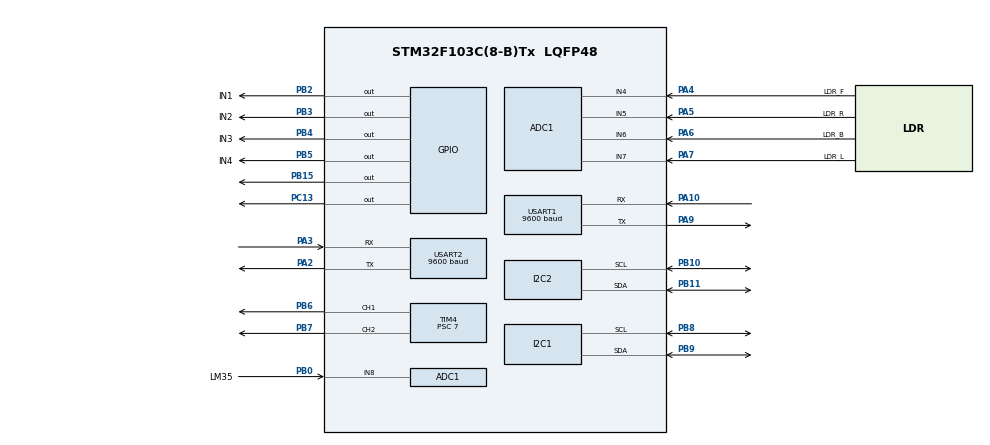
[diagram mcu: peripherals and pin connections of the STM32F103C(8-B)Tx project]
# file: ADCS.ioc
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ADC1.NbrOfConversionFlag=1
ADC1.master=1
Mcu.Family=STM32F1
Mcu.Name=STM32F103C(8-B)Tx
Mcu.Package=LQFP48
NVIC.I2C1_ER_IRQn=true\:0\:0\:false\:false\:true\:true\:true\:true
NVIC.I2C1_EV_IRQn=true\:0\:0\:false\:false\:true\:true\:true\:true
NVIC.PriorityGroup=NVIC_PRIORITYGROUP_4
NVIC.TIM1_UP_IRQn=true\:15\:0\:false\:false\:true\:false\:true\:true
NVIC.TimeBase=TIM1_UP_IRQn
NVIC.TimeBaseIP=TIM1
NVIC.USART2_IRQn=true\:0\:0\:false\:false\:true\:true\:true\:true
PA10.Mode=Asynchronous
PA10.Signal=USART1_RX
PA13.Mode=Serial_Wire
PA13.Signal=SYS_JTMS-SWDIO
PA14.Mode=Serial_Wire
PA14.Signal=SYS_JTCK-SWCLK
PA2.Mode=Asynchronous
PA2.Signal=USART2_TX
PA3.Mode=Asynchronous
PA3.Signal=USART2_RX
PA4.GPIO_Label=LDR_F
PA4.Signal=ADCx_IN4
PA5.GPIO_Label=LDR_R
PA5.Signal=ADCx_IN5
PA6.GPIO_Label=LDR_B
PA6.Signal=ADCx_IN6
PA7.GPIO_Label=LDR_L
PA7.Signal=ADCx_IN7
PA9.Mode=Asynchronous
PA9.Signal=USART1_TX
PB0.GPIO_Label=LM35
PB0.Signal=ADCx_IN8
PB10.Mode=I2C
PB10.Signal=I2C2_SCL
PB11.Mode=I2C
PB11.Signal=I2C2_SDA
PB15.Signal=GPIO_Output
PB2.GPIO_Label=IN1
PB2.Signal=GPIO_Output
PB3.GPIO_Label=IN2
PB3.Signal=GPIO_Output
PB4.GPIO_Label=IN3
PB4.Signal=GPIO_Output
PB5.GPIO_Label=IN4
PB5.Signal=GPIO_Output
PB6.Signal=S_TIM4_CH1
PB7.Signal=S_TIM4_CH2
PB8.Mode=I2C
PB8.Signal=I2C1_SCL
PB9.Mode=I2C
PB9.Signal=I2C1_SDA
PC13-TAMPER-RTC.Signal=GPIO_Output
ProjectManager.HeapSize=0x200
ProjectManager.StackSize=0x400
ProjectManager.TargetToolchain=STM32CubeIDE
RCC.APB1Freq_Value=8000000
RCC.APB2Freq_Value=8000000
SH.ADCx_IN4.0=ADC1_IN4,IN4
SH.ADCx_IN5.0=ADC1_IN5,IN5
SH.ADCx_IN6.0=ADC1_IN6,IN6
SH.ADCx_IN7.0=ADC1_IN7,IN7
SH.ADCx_IN8.0=ADC1_IN8,IN8
SH.S_TIM4_CH1.0=TIM4_CH1,PWM Generation1 CH1
SH.S_TIM4_CH2.0=TIM4_CH2,PWM Generation2 CH2
TIM4.AutoReloadPreload=TIM_AUTORELOAD_PRELOAD_ENABLE
TIM4.Channel-PWM\ Generation1\ CH1=TIM_CHANNEL_1
TIM4.Channel-PWM\ Generation2\ CH2=TIM_CHANNEL_2
TIM4.Period=999
TIM4.Prescaler=7
USART1.BaudRate=9600
USART1.VirtualMode=VM_ASYNC
USART2.BaudRate=9600
USART2.VirtualMode=VM_ASYNC
VP_SYS_VS_tim1.Mode=TIM1
board=custom

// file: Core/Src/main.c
/* USER CODE BEGIN Header */
/**
 ******************************************************************************
 * @file           : main.c
 * @brief          : Main program body
 ******************************************************************************
 * @attention
 *
 * Copyright (c) 2025 STMicroelectronics.
 * All rights reserved.
 *
 * This software is licensed under terms that can be found in the LICENSE file
 * in the root directory of this software component.
 * If no LICENSE file comes with this software, it is provided AS-IS.
 *
 ******************************************************************************
 */
/* USER CODE END Header */

#include "main.h"

/* USER CODE BEGIN Includes */
#include "mpu6050.h"
#include "gps.h"
#include "l298n.h"
#include "ldr.h"
#include "lm35.h"
#include <string.h>
#include <stdio.h>
#include <math.h>
/* USER CODE END Includes */

/* USER CODE BEGIN PTD */
typedef struct {
    float temperature;
    LightSensor_Values ldr_values;
    GPS_Position gps_position;
    GPS_Time gps_time;
    MPU6050_ScaledData accel;
    MPU6050_ScaledData gyro;
    float mpu_temp;
} SensorData_t;
/* USER CODE END PTD */

/* USER CODE BEGIN PD */
#define SENSOR_UPDATE_DELAY_MS 1000  // Delay between sensor updates
/* USER CODE END PD */

ADC_HandleTypeDef hadc1;
I2C_HandleTypeDef hi2c1;
I2C_HandleTypeDef hi2c2;
TIM_HandleTypeDef htim4;
UART_HandleTypeDef huart1;
UART_HandleTypeDef huart2;

/* USER CODE BEGIN PV */
L298N_HandleTypeDef hmotor;
GPS_Handle hgps;
MPU6050_Handle hmpu;
SensorData_t sensor_data;
MPU6050_ScaledData prev_accel = {0};
MPU6050_ScaledData prev_gyro = {0};

typedef enum {
    DIRECTION_NONE,
    DIRECTION_POSITIVE_X,
    DIRECTION_NEGATIVE_X,
    DIRECTION_POSITIVE_Y,
    DIRECTION_NEGATIVE_Y,
    DIRECTION_POSITIVE_Z,
    DIRECTION_NEGATIVE_Z
} MovementDirection;

MovementDirection last_movement_direction = DIRECTION_NONE;
/* USER CODE END PV */

void SystemClock_Config(void);
static void MX_GPIO_Init(void);
static void MX_ADC1_Init(void);
static void MX_USART1_UART_Init(void);
static void MX_TIM4_Init(void);
static void MX_I2C1_Init(void);
static void MX_I2C2_Init(void);
static void MX_USART2_UART_Init(void);

/* USER CODE BEGIN PFP */
void UART_Print(const char *message);
void UART_PrintFloat(const char *label, float value);
void UART_PrintLDRs(LightSensor_Values *values);
void UART_PrintGPSData(GPS_Position *position, GPS_Time *time);
void UART_PrintMPUData(MPU6050_ScaledData *accel, MPU6050_ScaledData *gyro, float temp);
void ReadAllSensors(SensorData_t *data);

void SetMPUOrigin(MPU6050_Handle *hmpu);
bool HasMovedFromOrigin(MPU6050_Handle *hmpu);
MovementDirection DetectMovementDirection(MPU6050_Handle *hmpu);
void ActivateMotorReaction(L298N_HandleTypeDef *hmotor, MovementDirection dir);
void TestMotorA(void);
void SimpleMotorControl(MPU6050_Handle *hmpu, L298N_HandleTypeDef *hmotor);
/* USER CODE END PFP */

/* USER CODE BEGIN 0 */
void HAL_UART_RxCpltCallback(UART_HandleTypeDef *huart) {
    if (huart->Instance == USART2) {
        GPS_UART_RxCpltCallback(&hgps);
    }
}
/* USER CODE END 0 */

int main(void)
{
    /* MCU Configuration--------------------------------------------------------*/
    HAL_Init();
    SystemClock_Config();
    MX_GPIO_Init();
    MX_ADC1_Init();
    MX_USART1_UART_Init();
    MX_TIM4_Init();
    MX_I2C1_Init();
    MX_I2C2_Init();
    MX_USART2_UART_Init();

    /* USER CODE BEGIN 2 */
    // Initialize all sensors and modules
    LM35_Init(&hadc1);
    LightSensor_Init(&hadc1);

    // Initialize motor driver
    L298N_InitTypeDef motor_init = {
        .htim = &htim4,
        .channel_a = TIM_CHANNEL_1,
        .channel_b = TIM_CHANNEL_2,
        .mode = L298N_SINGLE_CHANNEL
    };
    L298N_Init(&hmotor, &motor_init);

    // Initialize GPS module with UART2
    if (GPS_Init(&hgps, &huart2) != GPS_OK) {
        UART_Print("GPS initialization failed!");
        Error_Handler();
    }

    // Initialize MPU6050
    if (MPU6050_Init(&hmpu, &hi2c1) != MPU6050_OK) {
        UART_Print("MPU6050 initialization failed!");
        Error_Handler();
    }

    // Calibrate MPU6050 gyroscope
    if (MPU6050_Calibrate(&hmpu, 100) != MPU6050_OK) {
        UART_Print("MPU6050 calibration failed!");
        Error_Handler();
    }

    SetMPUOrigin(&hmpu);

    UART_Print("System initialized. Starting sensor readings...");
    HAL_Delay(1000);
    TestMotorA();
    /* USER CODE END 2 */

    /* Infinite loop */
    /* USER CODE BEGIN WHILE */
    while (1) {

        ReadAllSensors(&sensor_data);

        // Display sensor data via UART
        UART_Print("\r\n----- Sensor Readings -----");

        // Print temperature
        UART_PrintFloat("LM35 Temperature", sensor_data.temperature);

        // Print LDR values
        UART_PrintLDRs(&sensor_data.ldr_values);

        // Print GPS data if available
        if (GPS_HasFix(&hgps)) {
            UART_PrintGPSData(&sensor_data.gps_position, &sensor_data.gps_time);
        } else {
            UART_Print("GPS: No fix available");
        }

        // Print MPU6050 data
        UART_PrintMPUData(&sensor_data.accel, &sensor_data.gyro, sensor_data.mpu_temp);

        // Simplified motor control based on MPU movement
        SimpleMotorControl(&hmpu, &hmotor);

        HAL_Delay(SENSOR_UPDATE_DELAY_MS);
    }
    /* USER CODE END 3 */
}

void SystemClock_Config(void)
{
  RCC_OscInitTypeDef RCC_OscInitStruct = {0};
  RCC_ClkInitTypeDef RCC_ClkInitStruct = {0};
  RCC_PeriphCLKInitTypeDef PeriphClkInit = {0};

  /** Initializes the RCC Oscillators according to the specified parameters
  * in the RCC_OscInitTypeDef structure.
  */
  RCC_OscInitStruct.OscillatorType = RCC_OSCILLATORTYPE_HSI;
  RCC_OscInitStruct.HSIState = RCC_HSI_ON;
  RCC_OscInitStruct.HSICalibrationValue = RCC_HSICALIBRATION_DEFAULT;
  RCC_OscInitStruct.PLL.PLLState = RCC_PLL_NONE;
  if (HAL_RCC_OscConfig(&RCC_OscInitStruct) != HAL_OK)
  {
    Error_Handler();
  }

  /** Initializes the CPU, AHB and APB buses clocks
  */
  RCC_ClkInitStruct.ClockType = RCC_CLOCKTYPE_HCLK|RCC_CLOCKTYPE_SYSCLK
                              |RCC_CLOCKTYPE_PCLK1|RCC_CLOCKTYPE_PCLK2;
  RCC_ClkInitStruct.SYSCLKSource = RCC_SYSCLKSOURCE_HSI;
  RCC_ClkInitStruct.AHBCLKDivider = RCC_SYSCLK_DIV1;
  RCC_ClkInitStruct.APB1CLKDivider = RCC_HCLK_DIV1;
  RCC_ClkInitStruct.APB2CLKDivider = RCC_HCLK_DIV1;

  if (HAL_RCC_ClockConfig(&RCC_ClkInitStruct, FLASH_LATENCY_0) != HAL_OK)
  {
    Error_Handler();
  }
  PeriphClkInit.PeriphClockSelection = RCC_PERIPHCLK_ADC;
  PeriphClkInit.AdcClockSelection = RCC_ADCPCLK2_DIV2;
  if (HAL_RCCEx_PeriphCLKConfig(&PeriphClkInit) != HAL_OK)
  {
    Error_Handler();
  }
}

static void MX_ADC1_Init(void)
{

  /** Common config
  */
  hadc1.Instance = ADC1;
  hadc1.Init.ScanConvMode = ADC_SCAN_DISABLE;
  hadc1.Init.ContinuousConvMode = DISABLE;
  hadc1.Init.DiscontinuousConvMode = DISABLE;
  hadc1.Init.ExternalTrigConv = ADC_SOFTWARE_START;
  hadc1.Init.DataAlign = ADC_DATAALIGN_RIGHT;
  hadc1.Init.NbrOfConversion = 1;
  if (HAL_ADC_Init(&hadc1) != HAL_OK)
  {
    Error_Handler();
  }

}

static void MX_I2C1_Init(void)
{

  hi2c1.Instance = I2C1;
  hi2c1.Init.ClockSpeed = 100000;
  hi2c1.Init.DutyCycle = I2C_DUTYCYCLE_2;
  hi2c1.Init.OwnAddress1 = 0;
  hi2c1.Init.AddressingMode = I2C_ADDRESSINGMODE_7BIT;
  hi2c1.Init.DualAddressMode = I2C_DUALADDRESS_DISABLE;
  hi2c1.Init.OwnAddress2 = 0;
  hi2c1.Init.GeneralCallMode = I2C_GENERALCALL_DISABLE;
  hi2c1.Init.NoStretchMode = I2C_NOSTRETCH_DISABLE;
  if (HAL_I2C_Init(&hi2c1) != HAL_OK)
  {
    Error_Handler();
  }

}

static void MX_I2C2_Init(void)
{

  hi2c2.Instance = I2C2;
  hi2c2.Init.ClockSpeed = 100000;
  hi2c2.Init.DutyCycle = I2C_DUTYCYCLE_2;
  hi2c2.Init.OwnAddress1 = 0;
  hi2c2.Init.AddressingMode = I2C_ADDRESSINGMODE_7BIT;
  hi2c2.Init.DualAddressMode = I2C_DUALADDRESS_DISABLE;
  hi2c2.Init.OwnAddress2 = 0;
  hi2c2.Init.GeneralCallMode = I2C_GENERALCALL_DISABLE;
  hi2c2.Init.NoStretchMode = I2C_NOSTRETCH_DISABLE;
  if (HAL_I2C_Init(&hi2c2) != HAL_OK)
  {
    Error_Handler();
  }

}

static void MX_TIM4_Init(void)
{

  TIM_MasterConfigTypeDef sMasterConfig = {0};
  TIM_OC_InitTypeDef sConfigOC = {0};

  htim4.Instance = TIM4;
  htim4.Init.Prescaler = 7;
  htim4.Init.CounterMode = TIM_COUNTERMODE_UP;
  htim4.Init.Period = 999;
  htim4.Init.ClockDivision = TIM_CLOCKDIVISION_DIV1;
  htim4.Init.AutoReloadPreload = TIM_AUTORELOAD_PRELOAD_ENABLE;
  if (HAL_TIM_PWM_Init(&htim4) != HAL_OK)
  {
    Error_Handler();
  }
  sMasterConfig.MasterOutputTrigger = TIM_TRGO_RESET;
  sMasterConfig.MasterSlaveMode = TIM_MASTERSLAVEMODE_DISABLE;
  if (HAL_TIMEx_MasterConfigSynchronization(&htim4, &sMasterConfig) != HAL_OK)
  {
    Error_Handler();
  }
  sConfigOC.OCMode = TIM_OCMODE_PWM1;
  sConfigOC.Pulse = 0;
  sConfigOC.OCPolarity = TIM_OCPOLARITY_HIGH;
  sConfigOC.OCFastMode = TIM_OCFAST_DISABLE;
  if (HAL_TIM_PWM_ConfigChannel(&htim4, &sConfigOC, TIM_CHANNEL_1) != HAL_OK)
  {
    Error_Handler();
  }
  if (HAL_TIM_PWM_ConfigChannel(&htim4, &sConfigOC, TIM_CHANNEL_2) != HAL_OK)
  {
    Error_Handler();
  }
  HAL_TIM_MspPostInit(&htim4);

}

static void MX_USART1_UART_Init(void)
{

  huart1.Instance = USART1;
  huart1.Init.BaudRate = 9600;
  huart1.Init.WordLength = UART_WORDLENGTH_8B;
  huart1.Init.StopBits = UART_STOPBITS_1;
  huart1.Init.Parity = UART_PARITY_NONE;
  huart1.Init.Mode = UART_MODE_TX_RX;
  huart1.Init.HwFlowCtl = UART_HWCONTROL_NONE;
  huart1.Init.OverSampling = UART_OVERSAMPLING_16;
  if (HAL_UART_Init(&huart1) != HAL_OK)
  {
    Error_Handler();
  }

}

static void MX_USART2_UART_Init(void)
{

  huart2.Instance = USART2;
  huart2.Init.BaudRate = 9600;
  huart2.Init.WordLength = UART_WORDLENGTH_8B;
  huart2.Init.StopBits = UART_STOPBITS_1;
  huart2.Init.Parity = UART_PARITY_NONE;
  huart2.Init.Mode = UART_MODE_TX_RX;
  huart2.Init.HwFlowCtl = UART_HWCONTROL_NONE;
  huart2.Init.OverSampling = UART_OVERSAMPLING_16;
  if (HAL_UART_Init(&huart2) != HAL_OK)
  {
    Error_Handler();
  }

}

static void MX_GPIO_Init(void)
{
  GPIO_InitTypeDef GPIO_InitStruct = {0};

  /* GPIO Ports Clock Enable */
  __HAL_RCC_GPIOC_CLK_ENABLE();
  __HAL_RCC_GPIOA_CLK_ENABLE();
  __HAL_RCC_GPIOB_CLK_ENABLE();

  /*Configure GPIO pin Output Level */
  HAL_GPIO_WritePin(GPIOC, GPIO_PIN_13, GPIO_PIN_RESET);

  /*Configure GPIO pin Output Level */
  HAL_GPIO_WritePin(GPIOB, IN1_Pin|GPIO_PIN_15|IN2_Pin|IN3_Pin
                          |IN4_Pin, GPIO_PIN_RESET);

  /*Configure GPIO pin : PC13 */
  GPIO_InitStruct.Pin = GPIO_PIN_13;
  GPIO_InitStruct.Mode = GPIO_MODE_OUTPUT_PP;
  GPIO_InitStruct.Pull = GPIO_NOPULL;
  GPIO_InitStruct.Speed = GPIO_SPEED_FREQ_LOW;
  HAL_GPIO_Init(GPIOC, &GPIO_InitStruct);

  /*Configure GPIO pins : IN1_Pin PB15 IN2_Pin IN3_Pin
                           IN4_Pin */
  GPIO_InitStruct.Pin = IN1_Pin|GPIO_PIN_15|IN2_Pin|IN3_Pin
                          |IN4_Pin;
  GPIO_InitStruct.Mode = GPIO_MODE_OUTPUT_PP;
  GPIO_InitStruct.Pull = GPIO_NOPULL;
  GPIO_InitStruct.Speed = GPIO_SPEED_FREQ_LOW;
  HAL_GPIO_Init(GPIOB, &GPIO_InitStruct);

}

/* USER CODE BEGIN 4 */
void TestMotorA(void) {
    char buffer[64];

    // Print test start message
    snprintf(buffer, sizeof(buffer), "Starting Motor A test - IN1 HIGH, IN2 LOW for 10 seconds");
    UART_Print(buffer);

    // Set motor speed (adjust as needed, 50% for testing)
    L298N_SetSpeed(&hmotor, MOTOR_A, 50);

    // Set direction: IN1 HIGH, IN2 LOW
    HAL_GPIO_WritePin(hmotor.in1_port, hmotor.in1_pin, GPIO_PIN_SET);
    HAL_GPIO_WritePin(hmotor.in2_port, hmotor.in2_pin, GPIO_PIN_RESET);

    // Print pin states
    snprintf(buffer, sizeof(buffer), "IN1: HIGH, IN2: LOW, PWM: 50%%");
    UART_Print(buffer);

    // Run for 10 seconds
    HAL_Delay(10000);

    // Stop motor
    L298N_StopMotor(&hmotor, MOTOR_A);
    UART_Print("Motor A test complete - Motor stopped");
}

/* Modified movement detection and motor control */
void SimpleMotorControl(MPU6050_Handle *hmpu, L298N_HandleTypeDef *hmotor) {
    if (HasMovedFromOrigin(hmpu)) {
        UART_Print("Movement detected - Starting motor");

        // Set motor speed (adjust percentage as needed)
        L298N_SetSpeed(hmotor, MOTOR_A, 70); // 70% speed

        // Set direction (forward in this case)
        L298N_SetDirection(hmotor, MOTOR_A, MOTOR_FORWARD);
    } else {
        UART_Print("At origin - Stopping motor");
        L298N_StopMotor(hmotor, MOTOR_A);
    }
}
void UART_Print(const char *message) {
    HAL_UART_Transmit(&huart1, (uint8_t*)message, strlen(message), 100);
    // Add newline
    HAL_UART_Transmit(&huart1, (uint8_t*)"\r\n", 2, 100);
}

void UART_PrintFloat(const char *label, float value) {
    char buffer[64];
    snprintf(buffer, sizeof(buffer), "%s: %.2f", label, value);
    UART_Print(buffer);
}

void UART_PrintLDRs(LightSensor_Values *values) {
    char buffer[64];
    snprintf(buffer, sizeof(buffer), "LDRs - Front:%4u Right:%4u Back:%4u Left:%4u",
            values->front, values->right, values->back, values->left);
    UART_Print(buffer);
}

void UART_PrintGPSData(GPS_Position *position, GPS_Time *time) {
    char buffer[128];

    // Print position
    snprintf(buffer, sizeof(buffer), "GPS Position: Lat:%.6f, Lon:%.6f, Alt:%.2fm",
            position->latitude, position->longitude, position->altitude);
    UART_Print(buffer);

    // Print time
    snprintf(buffer, sizeof(buffer), "GPS Time: %02d:%02d:%02d.%03d %02d/%02d/%04d",
            time->hour, time->minute, time->second, time->millisecond,
            time->day, time->month, time->year);
    UART_Print(buffer);

    // Print additional GPS info
    snprintf(buffer, sizeof(buffer), "GPS Info: Speed:%.2f knots, Course:%.2f°, Sats:%d",
            position->speed, position->course, position->satellites);
    UART_Print(buffer);
}

void ReadAllSensors(SensorData_t *data) {
    // Read LM35 temperature
    data->temperature = LM35_ReadTemperature(&hadc1);

    // Read LDR values
    LightSensor_ReadAll(&hadc1, &data->ldr_values);

    // Process GPS data
    GPS_Process(&hgps);
    if (GPS_HasFix(&hgps)) {
        GPS_GetPosition(&hgps, &data->gps_position);
        GPS_GetTime(&hgps, &data->gps_time);
    }

    // Read MPU6050 data
    if (MPU6050_ReadAllData(&hmpu) == MPU6050_OK) {
        data->accel = hmpu.scaledAccel;
        data->gyro = hmpu.scaledGyro;
        data->mpu_temp = hmpu.temperature;
    }
}

void CalculateOrientation(MPU6050_ScaledData *accel, MPU6050_ScaledData *gyro, MPU6050_Orientation *orient) {
    // Calculate pitch and roll from accelerometer (in degrees)
    orient->pitch = atan2f(-accel->x, sqrtf(accel->y * accel->y + accel->z * accel->z)) * 180.0f / M_PI;
    orient->roll = atan2f(accel->y, accel->z) * 180.0f / M_PI;

    // Yaw rate comes directly from gyro Z-axis
    orient->yaw_rate = gyro->z;
}
void SetMPUOrigin(MPU6050_Handle *hmpu) {
    if (MPU6050_ReadAllData(hmpu) == MPU6050_OK) {
        hmpu->origin.accel = hmpu->scaledAccel;
        hmpu->origin.gyro = hmpu->scaledGyro;
        CalculateOrientation(&hmpu->scaledAccel, &hmpu->scaledGyro, &hmpu->origin.orient);
        hmpu->origin_set = true;
        UART_Print("MPU6050 origin set");
    }
}
bool HasMovedFromOrigin(MPU6050_Handle *hmpu) {
    if (!hmpu->origin_set) return false;

    // Thresholds - adjust these as needed
    const float ACCEL_THRESHOLD = 0.2f;   // 0.2g deviation
    const float GYRO_THRESHOLD = 2.0f;    // 2°/s deviation
    const float ORIENT_THRESHOLD = 5.0f;  // 5° deviation
    const float RETURN_THRESHOLD = 0.5f;  // 0.5g deviation for return (hysteresis)

    // Calculate differences from origin
    float accel_diff = sqrtf(
        powf(hmpu->scaledAccel.x - hmpu->origin.accel.x, 2) +
        powf(hmpu->scaledAccel.y - hmpu->origin.accel.y, 2) +
        powf(hmpu->scaledAccel.z - hmpu->origin.accel.z, 2));

    MPU6050_Orientation current_orient;
    CalculateOrientation(&hmpu->scaledAccel, &hmpu->scaledGyro, &current_orient);

    float orient_diff = sqrtf(
        powf(current_orient.pitch - hmpu->origin.orient.pitch, 2) +
        powf(current_orient.roll - hmpu->origin.orient.roll, 2));

    float gyro_diff = fabs(hmpu->scaledGyro.z - hmpu->origin.gyro.z);

    // Hysteresis logic
    if (!hmpu->currently_away) {
        // Currently at origin - check if we've moved away
        if ((accel_diff > ACCEL_THRESHOLD) ||
            (orient_diff > ORIENT_THRESHOLD) ||
            (gyro_diff > GYRO_THRESHOLD)) {
            hmpu->currently_away = true;
            return true;
        }
    } else {
        // Currently away - check if we've returned
        if ((accel_diff < RETURN_THRESHOLD) &&
            (orient_diff < RETURN_THRESHOLD) &&
            (gyro_diff < RETURN_THRESHOLD)) {
            hmpu->currently_away = false;
            return false;
        }
        return true; // Still away from origin
    }

    return false; // Default case - at origin
}
// Modify UART_PrintMPUData for degree symbols
void UART_PrintMPUData(MPU6050_ScaledData *accel, MPU6050_ScaledData *gyro, float temp) {
    char buffer[128];
    MPU6050_Orientation orient;

    CalculateOrientation(accel, gyro, &orient);

    // Print accelerometer data
    snprintf(buffer, sizeof(buffer), "Accel: X=%.3fg, Y=%.3fg, Z=%.3fg",
            accel->x, accel->y, accel->z);
    UART_Print(buffer);

    // Print gyroscope data
    snprintf(buffer, sizeof(buffer), "Gyro: X=%.3fdeg/s, Y=%.3fdeg/s, Z=%.3fdeg/s",
            gyro->x, gyro->y, gyro->z);
    UART_Print(buffer);

    // Print orientation with degree symbol (ASCII 176)
    snprintf(buffer, sizeof(buffer), "Orientation: Pitch=%.1f%c, Roll=%.1f%c, YawRate=%.1fdeg/s",
            orient.pitch, 176, orient.roll, 176, orient.yaw_rate);
    UART_Print(buffer);

    // Print temperature
    UART_PrintFloat("MPU6050 Temp", temp);
}
MovementDirection DetectMovementDirection(MPU6050_Handle *hmpu) {
    // Calculate differences from origin
    float dx = hmpu->scaledAccel.x - hmpu->origin.accel.x;
    float dy = hmpu->scaledAccel.y - hmpu->origin.accel.y;
    float dz = hmpu->scaledAccel.z - hmpu->origin.accel.z;

    // Get the dominant axis of movement
    float adx = fabsf(dx);
    float ady = fabsf(dy);
    float adz = fabsf(dz);

    // Threshold to consider movement significant (adjust as needed)
    const float MOVEMENT_THRESHOLD = 0.3f;

    if (adx > ady && adx > adz && adx > MOVEMENT_THRESHOLD) {
        return (dx > 0) ? DIRECTION_POSITIVE_X : DIRECTION_NEGATIVE_X;
    } else if (ady > adx && ady > adz && ady > MOVEMENT_THRESHOLD) {
        return (dy > 0) ? DIRECTION_POSITIVE_Y : DIRECTION_NEGATIVE_Y;
    } else if (adz > adx && adz > ady && adz > MOVEMENT_THRESHOLD) {
        return (dz > 0) ? DIRECTION_POSITIVE_Z : DIRECTION_NEGATIVE_Z;
    }

    return DIRECTION_NONE;
}

void ActivateMotorReaction(L298N_HandleTypeDef *hmotor, MovementDirection dir) {
    // Set motor speed (adjust as needed)
    const uint8_t REACTION_SPEED = 70; // 70% speed

    // Stop motors first
    L298N_StopMotor(hmotor, MOTOR_A);
    if (hmotor->mode == L298N_DUAL_CHANNEL) {
        L298N_StopMotor(hmotor, MOTOR_B);
    }

    // Determine which motor(s) to activate based on movement direction
    switch (dir) {
        case DIRECTION_POSITIVE_X:
            // Motor A forward to counteract +X movement
            L298N_SetSpeed(hmotor, MOTOR_A, REACTION_SPEED);
            L298N_SetDirection(hmotor, MOTOR_A, MOTOR_FORWARD);
            break;

        case DIRECTION_NEGATIVE_X:
            // Motor A backward to counteract -X movement
            L298N_SetSpeed(hmotor, MOTOR_A, REACTION_SPEED);
            L298N_SetDirection(hmotor, MOTOR_A, MOTOR_BACKWARD);
            break;

        case DIRECTION_POSITIVE_Y:
            // Motor B forward to counteract +Y movement (if dual channel)
            if (hmotor->mode == L298N_DUAL_CHANNEL) {
                L298N_SetSpeed(hmotor, MOTOR_B, REACTION_SPEED);
                L298N_SetDirection(hmotor, MOTOR_B, MOTOR_FORWARD);
            }
            break;

        case DIRECTION_NEGATIVE_Y:
            // Motor B backward to counteract -Y movement (if dual channel)
            if (hmotor->mode == L298N_DUAL_CHANNEL) {
                L298N_SetSpeed(hmotor, MOTOR_B, REACTION_SPEED);
                L298N_SetDirection(hmotor, MOTOR_B, MOTOR_BACKWARD);
            }
            break;

        case DIRECTION_POSITIVE_Z:
            // Both motors forward to counteract +Z rotation
            L298N_SetSpeed(hmotor, MOTOR_A, REACTION_SPEED);
            L298N_SetDirection(hmotor, MOTOR_A, MOTOR_FORWARD);
            if (hmotor->mode == L298N_DUAL_CHANNEL) {
                L298N_SetSpeed(hmotor, MOTOR_B, REACTION_SPEED);
                L298N_SetDirection(hmotor, MOTOR_B, MOTOR_FORWARD);
            }
            break;

        case DIRECTION_NEGATIVE_Z:
            // Both motors backward to counteract -Z rotation
            L298N_SetSpeed(hmotor, MOTOR_A, REACTION_SPEED);
            L298N_SetDirection(hmotor, MOTOR_A, MOTOR_BACKWARD);
            if (hmotor->mode == L298N_DUAL_CHANNEL) {
                L298N_SetSpeed(hmotor, MOTOR_B, REACTION_SPEED);
                L298N_SetDirection(hmotor, MOTOR_B, MOTOR_BACKWARD);
            }
            break;

        case DIRECTION_NONE:
        default:
            // Shouldn't happen, but stop motors just in case
            L298N_StopMotor(hmotor, MOTOR_A);
            if (hmotor->mode == L298N_DUAL_CHANNEL) {
                L298N_StopMotor(hmotor, MOTOR_B);
            }
            break;
    }
}
/* USER CODE END 4 */

void HAL_TIM_PeriodElapsedCallback(TIM_HandleTypeDef *htim)
{
  if (htim->Instance == TIM1) {
    HAL_IncTick();
  }
}

void Error_Handler(void)
{
	__disable_irq();
	while (1) {
	}
}
